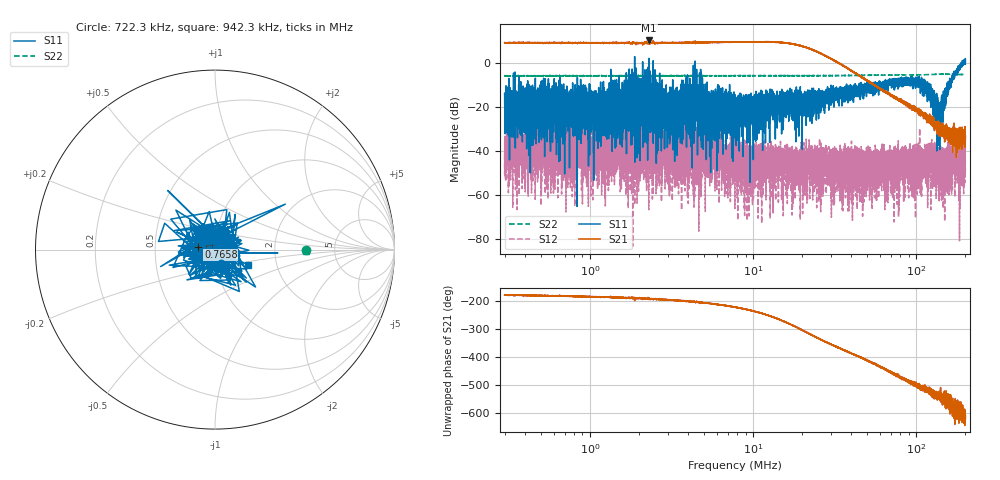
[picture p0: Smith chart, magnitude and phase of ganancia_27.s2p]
# Hz S DB R 50
! CMT, M5065, 19127446, 24.2.4/2
! Date: 11/1/2024 4:30:47 PM
! Data: Format (Calibration Info)
! Freq	S11:dB/Ang(F2)	S21:dB/Ang(F2)	S12:dB/Ang(F2)	S22:dB/Ang(F2)
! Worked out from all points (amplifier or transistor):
!   9000 points, 300 kHz to 200 MHz, reference 50 ohm
!   highest |S21| = 10.2 dB at 2.307 MHz (marker M1)
!   |S21| within 3 dB of that: start of sweep to 20.67 MHz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
!   unconditionally stable (mu >= 1): start of sweep to 1.879 MHz; 2.442 MHz to 4.414 MHz; 4.419 MHz to 190.7 MHz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
!   at 886.8 kHz: K = 9.75, MAG = 10.5 dB, |S12| = -37.7 dB
!   at 7.749 MHz: K = 15.13, MAG = 10.8 dB, |S12| = -41.7 dB
!   at 200 MHz: K = 597.52, MAG = -22.8 dB, |S12| = -49.9 dB
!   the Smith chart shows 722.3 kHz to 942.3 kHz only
!   S11 on the Smith chart (normalised r, x): 722.3 kHz: 1.05, -0.17; 765.8 kHz: 0.83, +0.02; 942.3 kHz: 1.42, -0.25
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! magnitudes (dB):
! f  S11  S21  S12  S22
! 300 kHz  -14.0  9.2  -41.4  -5.9
! 315.8 kHz  -32.7  9.1  -43.3  -5.9
! 347.4 kHz  -4.1  9.3  -30.6  -5.8
! 722.3 kHz  -21.2  9.1  -39.4  -5.9
! 765.8 kHz  -20.6  9.1  -52.6  -5.9
! 886.8 kHz  -17.5  9.1  -37.7  -5.9
! 942.3 kHz  -13.9  8.9  -38.6  -5.9
! 2.307 MHz  2.0  10.2  -43.2  -5.9
! 2.621 MHz  -14.6  9.2  -40.4  -5.9
! 4.1 MHz  -23.0  9.1  -46.0  -5.9
! 4.379 MHz  -18.1  9.1  -26.7  -6.1
! 5.558 MHz  -12.6  9.3  -54.3  -5.9
! 7.749 MHz  -23.0  9.4  -41.7  -5.9
! 17.66 MHz  -13.8  8.6  -52.8  -5.8
! 22.91 MHz  -27.5  6.0  -43.8  -5.9
! 38.07 MHz  -11.4  -2.5  -56.3  -5.8
! 67.71 MHz  -9.4  -14.0  -42.8  -5.6
! 110.9 MHz  -8.9  -24.6  -44.3  -5.4
! 123.4 MHz  -19.2  -25.7  -40.5  -5.3
! 137.9 MHz  -20.5  -29.3  -43.5  -5.2
! 162.7 MHz  -8.6  -30.9  -46.6  -5.2
! 200 MHz  -0.5  -33.9  -49.9  -5.3
